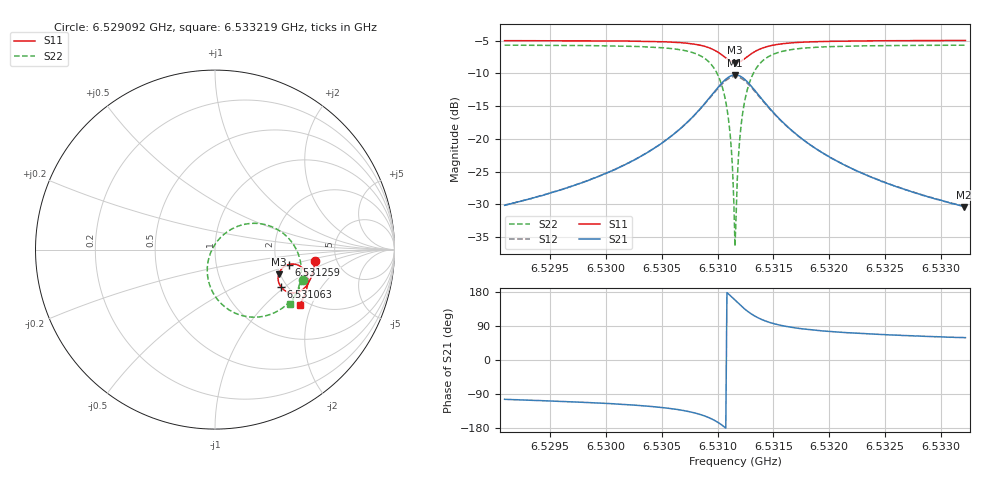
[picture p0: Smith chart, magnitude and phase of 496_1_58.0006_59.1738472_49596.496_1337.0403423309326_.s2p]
#  HZ  S  RI  R  50.00
! Rohde & Schwarz Vector Network Analyzer
! Rohde-Schwarz,ZNB20-2Port,1311601062101988,3.16
! Created: UTC 3/21/2024, 1:12:28 AM
! freq[Hz]  re:S11  im:S11  re:S21  im:S21  re:S12  im:S12  re:S22  im:S22
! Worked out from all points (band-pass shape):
!   401 points, 6.529092 GHz to 6.533219 GHz, reference 50 ohm
!   highest |S21| = -10.24 dB at 6.531156 GHz (marker M1); lowest = -30.4 dB at 6.533209 GHz (marker M2)
!   |S21| within 3 dB of the highest: 6.530951 GHz to 6.531363 GHz (412.1 kHz wide, 0.00631 % of centre)
!   lowest |S11| = -8.4 dB at 6.531156 GHz (marker M3), VSWR 2.23, Z = 98.4 - j31.5 ohm
!   |S11| at or under -10 dB: nowhere
!   |S22| runs from -36.4 to -5.7 dB; largest |S21 - S12| = 0.012
!   S11 on the Smith chart (normalised r, x): 6.529092 GHz: 3.42, -0.66; 6.531063 GHz: 1.85, -0.93; 6.531259 GHz: 2.33, -0.47; 6.533219 GHz: 1.82, -1.64
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6.529092e9  0.557 -0.0662  -0.00739 -0.0302  -0.00812 -0.0301  0.4895 -0.1701
6.5297833e9  0.5462 -0.1235  -0.017 -0.0431  -0.0179 -0.0427  0.4584 -0.2342
6.5304747e9  0.517 -0.1919  -0.0509 -0.0736  -0.0529 -0.0723  0.3769 -0.3246
6.530712e9  0.4897 -0.2215  -0.0906 -0.0929  -0.0934 -0.0898  0.296 -0.365
6.5308874e9  0.4458 -0.2403  -0.1587 -0.099  -0.1611 -0.0926  0.17 -0.3718
6.5309906e9  0.4011 -0.2345  -0.2282 -0.0723  -0.2274 -0.0629  0.0521 -0.3168
6.5310628e9  0.3665 -0.2068  -0.2793 -0.0136  -0.2736 -0.0039  -0.0254 -0.2096
6.5311041e9  0.3538 -0.1789  -0.2952 0.0394  -0.2864 0.0473  -0.043 -0.1188
6.5311247e9  0.3516 -0.1624  -0.2956 0.0695  -0.2856 0.0757  -0.0391 -0.0691
6.5311454e9  0.353 -0.1454  -0.2904 0.1001  -0.2796 0.1045  -0.0253 -0.0199
6.5311557e9  0.3551 -0.1369  -0.2854 0.1149  -0.2742 0.1184  -0.0147 0.00382
6.531166e9  0.3581 -0.1288  -0.2788 0.1292  -0.2678 0.1317  -0.00176 0.0263
6.5311763e9  0.3619 -0.1211  -0.271 0.1428  -0.2603 0.1443  0.0131 0.0474
6.531197e9  0.3717 -0.1073  -0.2519 0.1671  -0.2418 0.1666  0.0484 0.0838
6.5312073e9  0.3775 -0.1015  -0.2408 0.1774  -0.2312 0.1761  0.068 0.099
6.5312589e9  0.4108 -0.0831  -0.1801 0.2094  -0.1734 0.2061  0.1736 0.1426
6.5313311e9  0.4541 -0.0835  -0.1041 0.2112  -0.1008 0.208  0.3014 0.1329
6.5314343e9  0.4915 -0.1063  -0.0392 0.1797  -0.0377 0.1778  0.4075 0.0656
6.531847e9  0.517 -0.1867  0.0162 0.0864  0.0172 0.0862  0.4809 -0.128
6.5325384e9  0.4975 -0.2575  0.0182 0.0413  0.0189 0.0412  0.4526 -0.2449
6.5332091e9  0.4712 -0.3076  0.0156 0.0259  0.0162 0.0259  0.4184 -0.3049
6.5332194e9  0.4708 -0.3083  0.0157 0.026  0.0163 0.0257  0.4179 -0.3058
